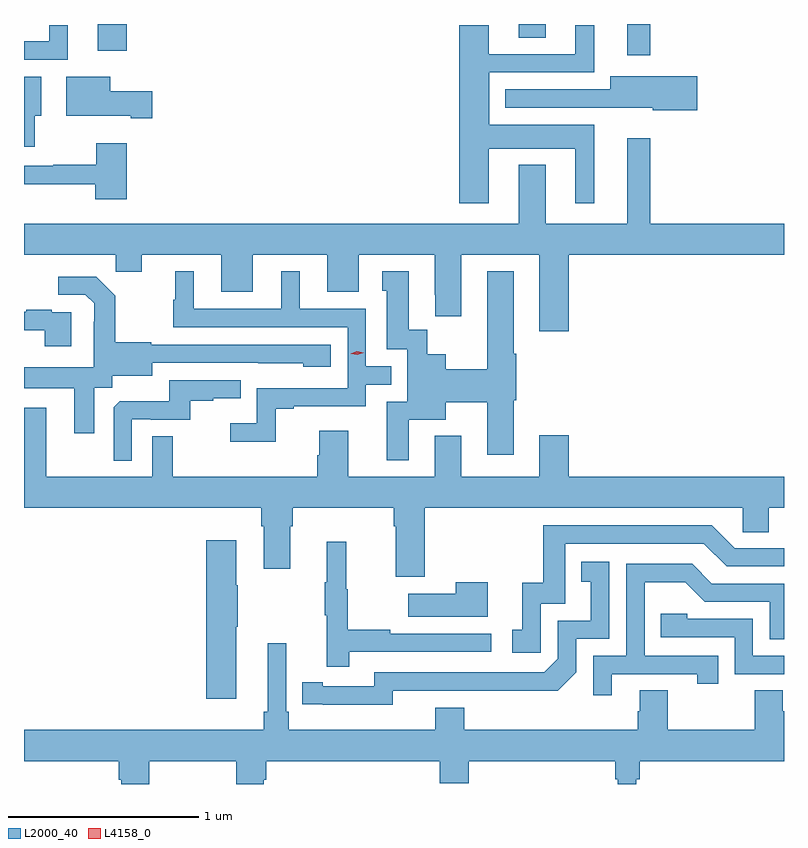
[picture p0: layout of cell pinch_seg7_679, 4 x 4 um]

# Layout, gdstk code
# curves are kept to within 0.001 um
import gdstk
lib = gdstk.Library(unit=1e-6, precision=1e-09)
def R(c, l, rs):  # rectangles x0, y0, x1, y1
    for r in rs: c.add(gdstk.rectangle(r[:2], r[2:], *l))
def P(c, l, *ps):  # polygons
    for p in ps: c.add(gdstk.Polygon(p, *l))
L2000_40 = (2000, 40)
L4158_0 = (4158, 0)

pinch_seg7_679 = lib.new_cell('pinch_seg7_679')
R(pinch_seg7_679, L2000_40, [(338.285,1021.647,338.407,1021.811), (335.498,1021.671,335.651,1021.811), (337.715,1021.738,337.855,1021.811)])
P(pinch_seg7_679, L2000_40, [(337.555,1021.154),(338.012,1021.154),(338.012,1020.867),(338.11,1020.867),(338.11,1021.282),(337.558,1021.282),(337.558,1021.557),(338.11,1021.557),(338.11,1021.804),(338.012,1021.804),(338.012,1021.653),(337.555,1021.653),(337.555,1021.804),(337.4,1021.804),(337.4,1020.867),(337.555,1020.867)],
  [(335.341,1021.804),(335.243,1021.804),(335.243,1021.719),(335.11,1021.719),(335.11,1021.623),(335.341,1021.623)],
  [(338.653,1021.536),(338.195,1021.536),(338.195,1021.467),(337.643,1021.467),(337.643,1021.371),(338.199,1021.371),(338.199,1021.37),(338.418,1021.37),(338.418,1021.358),(338.653,1021.358)],
  [(335.167,1021.328),(335.2,1021.328),(335.2,1021.534),(335.11,1021.534),(335.11,1021.164),(335.167,1021.164)],
  [(335.785,1021.458),(335.563,1021.458),(335.563,1021.534),(335.333,1021.534),(335.333,1021.328),(335.672,1021.328),(335.672,1021.316),(335.785,1021.316)],
  [(337.976,1020.596),(339.11,1020.596),(339.11,1020.76),(338.407,1020.76),(338.407,1021.21),(338.285,1021.21),(338.285,1020.76),(337.855,1020.76),(337.855,1021.069),(337.715,1021.069),(337.715,1020.76),(335.11,1020.76),(335.11,1020.596),(335.593,1020.596),(335.593,1020.506),(335.731,1020.506),(335.731,1020.596),(336.149,1020.596),(336.149,1020.402),(336.313,1020.402),(336.313,1020.596),(336.707,1020.596),(336.707,1020.402),(336.871,1020.402),(336.871,1020.596),(337.271,1020.596),(337.271,1020.385),(337.274,1020.385),(337.274,1020.273),(337.411,1020.273),(337.411,1020.596),(337.823,1020.596),(337.823,1020.195),(337.976,1020.195)],
  [(335.651,1021.183),(335.491,1021.183),(335.491,1021.07),(335.263,1021.07),(335.263,1021.065),(335.11,1021.065),(335.11,1020.968),(335.486,1020.968),(335.486,1020.888),(335.651,1020.888)],
  [(336.435,1019.787),(336.529,1019.787),(336.529,1019.799),(336.909,1019.799),(336.909,1019.913),(337.042,1019.913),(337.042,1020.009),(336.909,1020.009),(336.909,1020.312),(336.562,1020.312),(336.562,1020.511),(336.464,1020.511),(336.464,1020.312),(336.004,1020.312),(336.004,1020.511),(335.906,1020.511),(335.906,1020.36),(335.895,1020.36),(335.895,1020.216),(336.813,1020.216),(336.813,1019.895),(336.336,1019.895),(336.336,1019.71),(336.195,1019.71),(336.195,1019.612),(336.435,1019.612)],
  [(337.135,1019.729),(337.33,1019.729),(337.33,1019.821),(337.547,1019.821),(337.547,1019.544),(337.687,1019.544),(337.687,1019.832),(337.7,1019.832),(337.7,1020.076),(337.687,1020.076),(337.687,1020.511),(337.547,1020.511),(337.547,1019.993),(337.33,1019.993),(337.33,1020.073),(337.233,1020.073),(337.233,1020.203),(337.135,1020.203),(337.135,1020.511),(336.995,1020.511),(336.995,1020.408),(337.019,1020.408),(337.019,1020.099),(337.128,1020.099),(337.128,1019.823),(337.019,1019.823),(337.019,1019.514),(337.135,1019.514)],
  [(335.479,1019.896),(335.574,1019.896),(335.574,1019.96),(335.785,1019.96),(335.785,1020.027),(336.579,1020.026),(336.579,1020.008),(336.724,1020.008),(336.724,1020.123),(335.781,1020.123),(335.781,1020.136),(335.589,1020.136),(335.589,1020.381),(335.489,1020.481),(335.289,1020.481),(335.289,1020.387),(335.433,1020.387),(335.48,1020.34),(335.48,1020.245),(335.478,1020.245),(335.478,1020.004),(335.11,1020.004),(335.11,1019.894),(335.375,1019.894),(335.375,1019.658),(335.479,1019.658)],
  [(335.359,1020.294),(335.255,1020.294),(335.255,1020.307),(335.123,1020.307),(335.123,1020.296),(335.11,1020.296),(335.11,1020.198),(335.219,1020.198),(335.219,1020.114),(335.359,1020.114)],
  [(335.676,1019.73),(335.776,1019.73),(335.776,1019.727),(335.984,1019.727),(335.984,1019.829),(336.107,1019.829),(336.107,1019.84),(336.251,1019.84),(336.251,1019.937),(335.874,1019.937),(335.874,1019.825),(335.615,1019.825),(335.583,1019.793),(335.583,1019.513),(335.676,1019.513)],
  [(337.22,1019.264),(338.892,1019.264),(338.892,1019.137),(339.031,1019.137),(339.031,1019.264),(339.11,1019.264),(339.11,1019.428),(337.976,1019.428),(337.976,1019.647),(337.823,1019.647),(337.823,1019.428),(337.411,1019.428),(337.411,1019.644),(337.271,1019.644),(337.271,1019.428),(336.817,1019.428),(336.817,1019.671),(336.665,1019.671),(336.665,1019.541),(336.653,1019.541),(336.653,1019.428),(335.893,1019.428),(335.893,1019.642),(335.784,1019.642),(335.784,1019.428),(335.227,1019.428),(335.227,1019.791),(335.11,1019.791),(335.11,1019.264),(336.359,1019.264),(336.359,1019.168),(336.371,1019.168),(336.371,1018.944),(336.511,1018.944),(336.511,1019.168),(336.524,1019.168),(336.524,1019.264),(337.055,1019.264),(337.055,1019.168),(337.067,1019.168),(337.067,1018.902),(337.22,1018.902)],
  [(337.83,1018.761),(337.959,1018.761),(337.959,1019.076),(338.688,1019.076),(338.808,1018.956),(339.11,1018.956),(339.11,1019.052),(338.85,1019.052),(338.73,1019.172),(337.843,1019.172),(337.843,1018.87),(337.733,1018.87),(337.733,1018.623),(337.68,1018.623),(337.68,1018.503),(337.83,1018.503)],
  [(336.226,1018.639),(336.234,1018.639),(336.234,1018.856),(336.226,1018.856),(336.226,1019.095),(336.068,1019.095),(336.068,1018.26),(336.226,1018.26)],
  [(336.821,1018.506),(337.57,1018.506),(337.57,1018.602),(337.037,1018.602),(337.037,1018.622),(336.814,1018.622),(336.814,1018.836),(336.806,1018.836),(336.806,1019.086),(336.704,1019.086),(336.704,1018.873),(336.693,1018.873),(336.693,1018.699),(336.704,1018.699),(336.704,1018.428),(336.821,1018.428)],
  [(337.05,1018.302),(337.918,1018.301),(338.016,1018.398),(338.016,1018.575),(338.19,1018.575),(338.19,1018.981),(338.044,1018.981),(338.044,1018.875),(338.093,1018.875),(338.093,1018.671),(337.92,1018.671),(337.92,1018.47),(337.848,1018.398),(336.954,1018.398),(336.954,1018.326),(336.682,1018.326),(336.682,1018.346),(336.574,1018.346),(336.574,1018.23),(337.05,1018.229)],
  [(338.203,1018.389),(338.654,1018.389),(338.654,1018.338),(338.765,1018.338),(338.765,1018.485),(338.376,1018.485),(338.376,1018.874),(338.59,1018.874),(338.694,1018.77),(339.036,1018.77),(339.036,1018.572),(339.11,1018.572),(339.11,1018.866),(338.731,1018.866),(338.626,1018.971),(338.28,1018.971),(338.28,1018.485),(338.106,1018.485),(338.106,1018.278),(338.203,1018.278)],
  [(337.552,1018.873),(337.382,1018.873),(337.382,1018.813),(337.133,1018.813),(337.133,1018.691),(337.552,1018.691)],
  [(339.11,1018.485),(338.946,1018.485),(338.946,1018.68),(338.601,1018.68),(338.601,1018.707),(338.461,1018.707),(338.461,1018.584),(338.85,1018.584),(338.85,1018.389),(339.11,1018.389)],
  [(335.11,1017.932),(335.609,1017.932),(335.609,1017.834),(335.621,1017.834),(335.621,1017.811),(335.769,1017.811),(335.769,1017.932),(336.226,1017.932),(336.226,1017.811),(336.373,1017.811),(336.373,1017.834),(336.386,1017.834),(336.386,1017.932),(337.298,1017.932),(337.298,1017.815),(337.45,1017.815),(337.45,1017.932),(338.222,1017.932),(338.222,1017.836),(338.235,1017.836),(338.235,1017.811),(338.332,1017.811),(338.332,1017.836),(338.351,1017.836),(338.351,1017.932),(339.11,1017.932),(339.11,1018.194),(339.103,1018.194),(339.103,1018.304),(338.956,1018.304),(338.956,1018.096),(338.499,1018.096),(338.499,1018.304),(338.351,1018.304),(338.351,1018.194),(338.339,1018.194),(338.339,1018.096),(337.427,1018.096),(337.427,1018.213),(337.274,1018.213),(337.274,1018.096),(336.503,1018.096),(336.503,1018.192),(336.489,1018.192),(336.489,1018.552),(336.392,1018.552),(336.392,1018.192),(336.373,1018.192),(336.373,1018.096),(335.11,1018.096)])
P(pinch_seg7_679, L4158_0, [(336.864,1020.069),(336.829,1020.076),(336.828,1020.076),(336.829,1020.076),(336.862,1020.089),(336.898,1020.081),(336.898,1020.081),(336.898,1020.081)])

lib.write_gds('pinch_seg7_679.gds')
